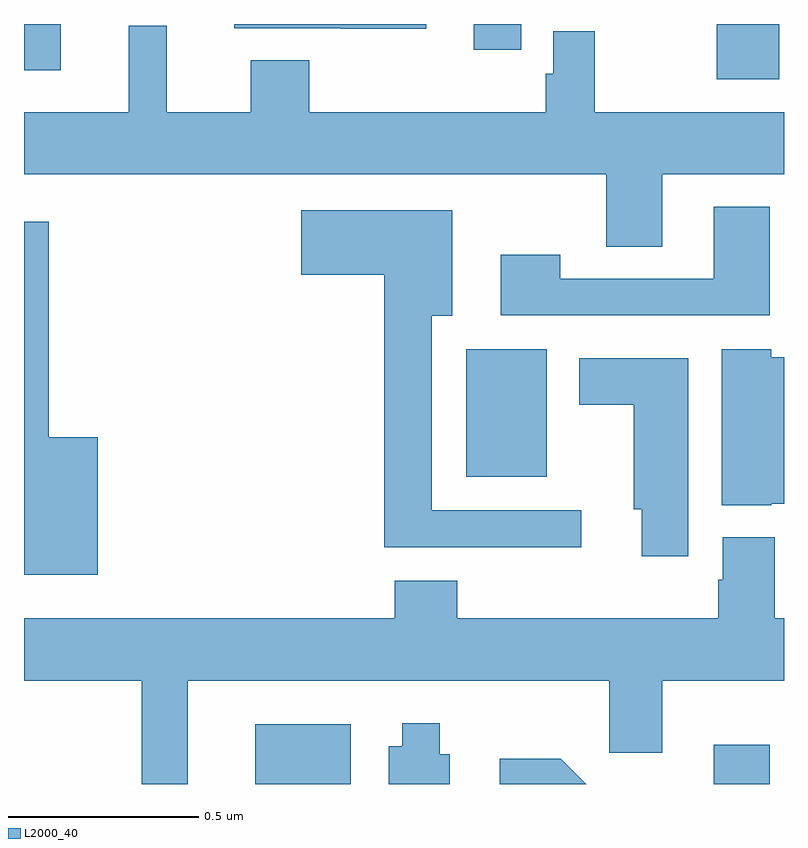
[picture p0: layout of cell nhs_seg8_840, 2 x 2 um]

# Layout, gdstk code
import gdstk
lib = gdstk.Library(unit=1e-6, precision=1e-09)
def R(c, l, rs):  # rectangles x0, y0, x1, y1
    for r in rs: c.add(gdstk.rectangle(r[:2], r[2:], *l))
def P(c, l, *ps):  # polygons
    for p in ps: c.add(gdstk.Polygon(p, *l))
L2000_40 = (2000, 40)

nhs_seg8_840 = lib.new_cell('nhs_seg8_840')
R(nhs_seg8_840, L2000_40, [(122.609,1110.9,122.86,1111.057), (123.815,1110.9,123.963,1111.003), (123.164,1111.709,123.376,1112.044), (123.823,1112.754,123.988,1112.9), (122,1112.778,122.097,1112.9), (123.183,1112.832,123.308,1112.9)])
P(nhs_seg8_840, L2000_40, [(123.058,1112.9),(122.553,1112.9),(122.553,1112.889),(122.833,1112.889),(122.833,1112.887),(123.058,1112.887)],
  [(123.679,1112.504),(124,1112.504),(124,1112.668),(123.502,1112.668),(123.502,1112.881),(123.393,1112.881),(123.393,1112.769),(123.373,1112.769),(123.373,1112.668),(122.75,1112.668),(122.75,1112.804),(122.597,1112.804),(122.597,1112.668),(122.375,1112.668),(122.375,1112.896),(122.276,1112.896),(122.276,1112.668),(122,1112.668),(122,1112.504),(123.532,1112.504),(123.532,1112.314),(123.679,1112.314)],
  [(123.963,1112.419),(123.815,1112.419),(123.815,1112.229),(123.411,1112.229),(123.411,1112.293),(123.255,1112.293),(123.255,1112.133),(123.963,1112.133)],
  [(123.466,1111.62),(123.073,1111.62),(123.073,1112.132),(123.127,1112.132),(123.127,1112.41),(122.73,1112.41),(122.73,1112.24),(122.948,1112.24),(122.948,1111.523),(123.466,1111.523)],
  [(122.194,1111.813),(122.065,1111.813),(122.065,1112.38),(122,1112.38),(122,1111.451),(122.194,1111.451)],
  [(123.966,1111.637),(124,1111.637),(124,1112.023),(123.966,1112.023),(123.966,1112.044),(123.836,1112.044),(123.836,1111.634),(123.966,1111.634)],
  [(123.748,1112.02),(123.461,1112.02),(123.461,1111.898),(123.605,1111.898),(123.605,1111.623),(123.626,1111.623),(123.626,1111.5),(123.748,1111.5)],
  [(122.431,1111.172),(123.54,1111.172),(123.54,1110.982),(123.679,1110.982),(123.679,1111.172),(124,1111.172),(124,1111.336),(123.975,1111.336),(123.975,1111.549),(123.839,1111.549),(123.839,1111.437),(123.827,1111.437),(123.827,1111.336),(123.14,1111.336),(123.14,1111.435),(122.975,1111.435),(122.975,1111.336),(122,1111.336),(122,1111.172),(122.31,1111.172),(122.31,1110.9),(122.431,1110.9)],
  [(123.121,1110.978),(123.094,1110.978),(123.094,1111.06),(122.996,1111.06),(122.996,1111),(122.96,1111),(122.96,1110.9),(123.121,1110.9)],
  [(123.413,1110.967),(123.252,1110.967),(123.252,1110.9),(123.48,1110.9)])

lib.write_gds('nhs_seg8_840.gds')
